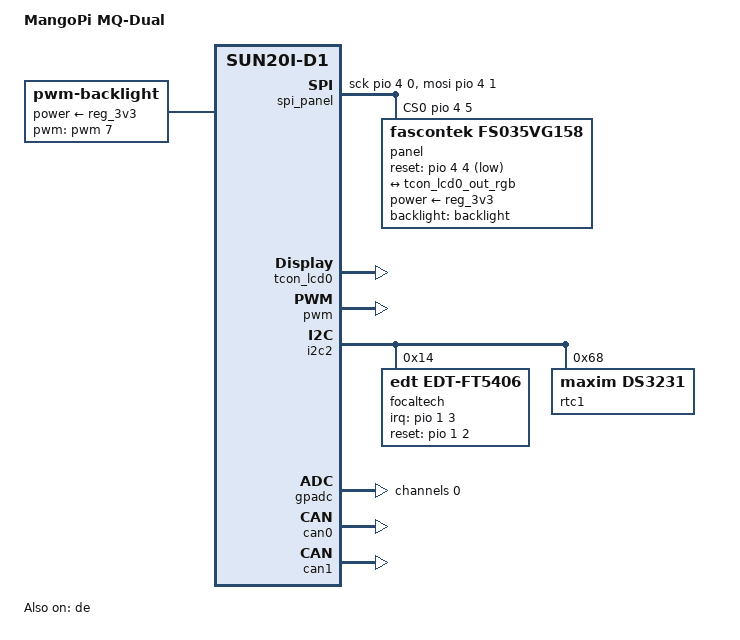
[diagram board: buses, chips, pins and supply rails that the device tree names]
// SPDX-License-Identifier: (GPL-2.0+ or MIT)
// Copyright (C) 2022 Samuel Holland <samuel@sholland.org>

/dts-v1/;

#include "mangopi-common-linux.dtsi"

/ {
	model = "MangoPi MQ-Dual";
	compatible = "allwinner,sun20i-d1", "allwinner,sun8i";

	chosen {
		stdout-path = "serial1:115200n8";
	};

	spi_panel: spi {
		compatible = "spi-gpio";
		#address-cells = <0x1>;
		#size-cells = <0x0>;

		sck-gpios = <&pio 4 0 GPIO_ACTIVE_HIGH>; /* PE0 */
		mosi-gpios = <&pio 4 1 GPIO_ACTIVE_HIGH>; /* PE1 */
		cs-gpios = <&pio 4 5 GPIO_ACTIVE_HIGH>; /* PE5 */
		num-chipselects = <0>;
	};

	backlight: backlight {
		compatible = "pwm-backlight";
		pwms = <&pwm 7 5000000>;
		power-supply = <&reg_3v3>;
		pinctrl-0 = <&pwm7_pd22_pin>;
		pinctrl-names = "default";
		brightness-levels = <0 4 8 16 32 64 128 254>;
		default-brightness-level = <6>;
		post-pwm-on-delay-ms = <10>;
		pwm-off-delay-ms = <10>;
	};
};

&de {
 	status = "okay";
};

&tcon_lcd0 {
	pinctrl-0 = <&lcd_rgb666_pins>;
	pinctrl-names = "default";
	status = "okay";
};

&tcon_lcd0_out {
        tcon_lcd0_out_rgb: endpoint@0 {
                reg = <0>;
                remote-endpoint = <&rgb_panel_in>;
        };
};

&spi_panel {
	status = "okay";
	panel@0 {
		compatible = "fascontek,fs035vg158";
		spi-3wire;
		reg = <0>;
		backlight = <&backlight>;
		power-supply = <&reg_3v3>;
		reset-gpios = <&pio 4 4 GPIO_ACTIVE_LOW>; /* PE4 */
		port {
			rgb_panel_in: endpoint {
				remote-endpoint = <&tcon_lcd0_out_rgb>;
			};
		};
	};
};

&pwm {
	#pwm-cells = <2>;
	status = "okay";
};

&i2c2 {
	pinctrl-0 = <&i2c2_pe12_pins>;
	pinctrl-names = "default";
	status = "okay";

	focaltech: touchscreen@14 {
		compatible = "edt,edt-ft5406";
		reg = <0x14>;
		interrupt-parent = <&pio>;
		interrupts = <1 3 IRQ_TYPE_EDGE_FALLING>;  /* PB-EINT3    */
		irq-gpios = <&pio 1 3 GPIO_ACTIVE_HIGH>;   /* PB3 CTP_INT */
		reset-gpios = <&pio 1 2 GPIO_ACTIVE_HIGH>; /* PB2 CTP_RST */ // low active?
	};

	rtc1: rtc1@68 {
		compatible = "maxim,ds3231";
		reg = <0x68>;
	};
};

&gpadc {
	status = "okay";
	channel@0 {
		reg = <0>;
	};
};

&can0 {
	status = "okay";
};

&can1 {
	status = "okay";
};
